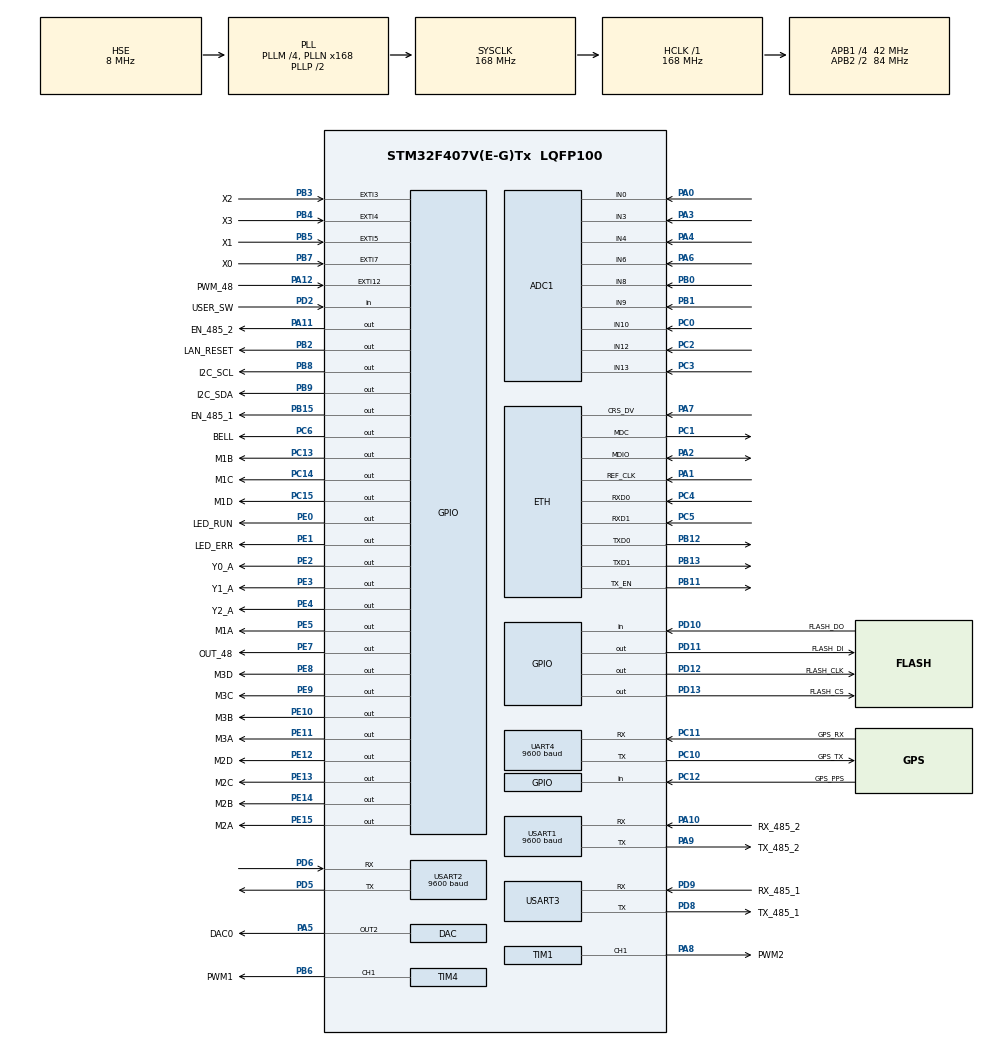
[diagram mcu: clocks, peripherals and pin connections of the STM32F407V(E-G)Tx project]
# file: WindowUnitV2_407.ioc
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ADC1.Channel-18\#ChannelRegularConversion=ADC_CHANNEL_10
ADC1.Channel-19\#ChannelRegularConversion=ADC_CHANNEL_12
ADC1.Channel-20\#ChannelRegularConversion=ADC_CHANNEL_13
ADC1.Channel-21\#ChannelRegularConversion=ADC_CHANNEL_0
ADC1.Channel-22\#ChannelRegularConversion=ADC_CHANNEL_3
ADC1.Channel-23\#ChannelRegularConversion=ADC_CHANNEL_6
ADC1.Channel-24\#ChannelRegularConversion=ADC_CHANNEL_8
ADC1.Channel-25\#ChannelRegularConversion=ADC_CHANNEL_9
ADC1.Channel-26\#ChannelRegularConversion=ADC_CHANNEL_4
ADC1.ContinuousConvMode=ENABLE
ADC1.EOCSelection=ADC_EOC_SEQ_CONV
ADC1.NbrOfConversion=9
ADC1.NbrOfConversionFlag=1
ADC1.Rank-18\#ChannelRegularConversion=1
ADC1.Rank-19\#ChannelRegularConversion=2
ADC1.Rank-20\#ChannelRegularConversion=3
ADC1.Rank-21\#ChannelRegularConversion=4
ADC1.Rank-22\#ChannelRegularConversion=5
ADC1.Rank-23\#ChannelRegularConversion=6
ADC1.Rank-24\#ChannelRegularConversion=7
ADC1.Rank-25\#ChannelRegularConversion=8
ADC1.Rank-26\#ChannelRegularConversion=9
ADC1.SamplingTime-18\#ChannelRegularConversion=ADC_SAMPLETIME_3CYCLES
ADC1.SamplingTime-19\#ChannelRegularConversion=ADC_SAMPLETIME_3CYCLES
ADC1.SamplingTime-20\#ChannelRegularConversion=ADC_SAMPLETIME_3CYCLES
ADC1.SamplingTime-21\#ChannelRegularConversion=ADC_SAMPLETIME_3CYCLES
ADC1.SamplingTime-22\#ChannelRegularConversion=ADC_SAMPLETIME_3CYCLES
ADC1.SamplingTime-23\#ChannelRegularConversion=ADC_SAMPLETIME_3CYCLES
ADC1.SamplingTime-24\#ChannelRegularConversion=ADC_SAMPLETIME_3CYCLES
ADC1.SamplingTime-25\#ChannelRegularConversion=ADC_SAMPLETIME_3CYCLES
ADC1.SamplingTime-26\#ChannelRegularConversion=ADC_SAMPLETIME_3CYCLES
ADC1.master=1
Dma.ADC1.0.Direction=DMA_PERIPH_TO_MEMORY
Dma.ADC1.0.FIFOMode=DMA_FIFOMODE_DISABLE
Dma.ADC1.0.Instance=DMA2_Stream0
Dma.ADC1.0.MemDataAlignment=DMA_MDATAALIGN_HALFWORD
Dma.ADC1.0.MemInc=DMA_MINC_ENABLE
Dma.ADC1.0.Mode=DMA_CIRCULAR
Dma.ADC1.0.PeriphDataAlignment=DMA_PDATAALIGN_HALFWORD
Dma.ADC1.0.PeriphInc=DMA_PINC_DISABLE
Dma.ADC1.0.Priority=DMA_PRIORITY_LOW
Dma.Request0=ADC1
Dma.Request1=USART2_RX
Dma.Request2=USART2_TX
Dma.USART2_RX.1.Direction=DMA_PERIPH_TO_MEMORY
Dma.USART2_RX.1.FIFOMode=DMA_FIFOMODE_DISABLE
Dma.USART2_RX.1.Instance=DMA1_Stream5
Dma.USART2_RX.1.MemDataAlignment=DMA_MDATAALIGN_BYTE
Dma.USART2_RX.1.MemInc=DMA_MINC_ENABLE
Dma.USART2_RX.1.Mode=DMA_NORMAL
Dma.USART2_RX.1.PeriphDataAlignment=DMA_PDATAALIGN_BYTE
Dma.USART2_RX.1.PeriphInc=DMA_PINC_DISABLE
Dma.USART2_RX.1.Priority=DMA_PRIORITY_LOW
Dma.USART2_TX.2.Direction=DMA_MEMORY_TO_PERIPH
Dma.USART2_TX.2.FIFOMode=DMA_FIFOMODE_DISABLE
Dma.USART2_TX.2.Instance=DMA1_Stream6
Dma.USART2_TX.2.MemDataAlignment=DMA_MDATAALIGN_BYTE
Dma.USART2_TX.2.MemInc=DMA_MINC_ENABLE
Dma.USART2_TX.2.Mode=DMA_NORMAL
Dma.USART2_TX.2.PeriphDataAlignment=DMA_PDATAALIGN_BYTE
Dma.USART2_TX.2.PeriphInc=DMA_PINC_DISABLE
Dma.USART2_TX.2.Priority=DMA_PRIORITY_LOW
ETH.MACAddr=12\:34\:56\:78\:12\:54
ETH.MediaInterface=ETH_MEDIA_INTERFACE_RMII
ETH.PHY_DUPLEX_STATUS=0x0010
ETH.PHY_Name_RMII=userPHY
ETH.PHY_SPEED_STATUS=0x0004
ETH.PHY_SR=0x1f
ETH.PhyAddress=0\t\t\t\t\t\t
FREERTOS.Tasks01=SystemTask,24,512,StartSystemTask,As weak,NULL,Dynamic,NULL,NULL;AdcTask,8,128,StartAdcTask,As external,NULL,Dynamic,NULL,NULL;OutdoorComsTask,32,128,StartOutdoorComs,As external,NULL,Dynamic,NULL,NULL;ModbusTask,24,512,StartModbusTask,As external,NULL,Dynamic,NULL,NULL;DisplayTask,8,128,StartDisplayTask,As external,NULL,Dynamic,NULL,NULL;FanTask,8,128,StartFanTask,As external,NULL,Dynamic,NULL,NULL;DamperTask,8,128,StartDamperTask,As external,NULL,Dynamic,NULL,NULL;ErrCheckTask,8,256,StartErrCheckTask,As external,NULL,Dynamic,NULL,NULL;HealthTask,8,256,StartHealthTask,As external,NULL,Dynamic,NULL,NULL;GPSTask,8,256,StartGPS,As external,NULL,Static,GPSTaskBuffer,GPSTaskControlBlock;EtherNet,24,1024,StartIP,As external,NULL,Static,EtherNetBuffer,EtherNetControlBlock
FREERTOS.configCHECK_FOR_STACK_OVERFLOW=2
FREERTOS.configGENERATE_RUN_TIME_STATS=0
FREERTOS.configTOTAL_HEAP_SIZE=24576
FREERTOS.configUSE_NEWLIB_REENTRANT=1
LWIP.GATEWAY_ADDRESS=192.168.002.001
LWIP.IP_ADDRESS=192.168.002.100
LWIP.LWIP_DHCP=1
LWIP.LWIP_DNS=1
LWIP.LWIP_SO_RCVTIMEO=1
LWIP.LWIP_SO_SNDTIMEO=1
LWIP.NETMASK_ADDRESS=255.255.255.000
LWIP.Version=v2.1.2_Cube
Mcu.Family=STM32F4
Mcu.Name=STM32F407V(E-G)Tx
Mcu.Package=LQFP100
NVIC.DMA1_Stream5_IRQn=true\:5\:0\:false\:false\:true\:true\:false\:true
NVIC.DMA1_Stream6_IRQn=true\:5\:0\:false\:false\:true\:true\:false\:true
NVIC.DMA2_Stream0_IRQn=true\:5\:0\:false\:false\:true\:true\:false\:true
NVIC.ETH_IRQn=true\:5\:0\:false\:false\:true\:true\:false\:true
NVIC.EXTI15_10_IRQn=true\:5\:0\:false\:false\:true\:true\:true\:true
NVIC.EXTI3_IRQn=true\:5\:0\:false\:false\:true\:true\:true\:true
NVIC.EXTI4_IRQn=true\:5\:0\:false\:false\:true\:true\:true\:true
NVIC.EXTI9_5_IRQn=true\:5\:0\:false\:false\:true\:true\:true\:true
NVIC.PriorityGroup=NVIC_PRIORITYGROUP_4
NVIC.RTC_Alarm_IRQn=true\:5\:0\:false\:false\:true\:true\:true\:true
NVIC.TIM6_DAC_IRQn=true\:15\:0\:false\:false\:true\:false\:false\:true
NVIC.TimeBase=TIM6_DAC_IRQn
NVIC.TimeBaseIP=TIM6
NVIC.UART4_IRQn=true\:5\:0\:false\:false\:true\:true\:true\:true
NVIC.USART1_IRQn=true\:5\:0\:false\:false\:true\:true\:true\:true
NVIC.USART2_IRQn=true\:5\:0\:false\:false\:true\:true\:true\:true
PA0-WKUP.Signal=ADCx_IN0
PA1.Mode=RMII
PA1.Signal=ETH_REF_CLK
PA10.GPIO_Label=RX_485_2
PA10.Mode=Asynchronous
PA10.Signal=USART1_RX
PA11.GPIO_Label=EN_485_2
PA11.Signal=GPIO_Output
PA12.GPIO_Label=PWM_48
PA12.Signal=GPXTI12
PA13.Mode=Serial_Wire
PA13.Signal=SYS_JTMS-SWDIO
PA14.Mode=Serial_Wire
PA14.Signal=SYS_JTCK-SWCLK
PA2.Mode=RMII
PA2.Signal=ETH_MDIO
PA3.Signal=ADCx_IN3
PA4.Signal=ADCx_IN4
PA5.GPIO_Label=DAC0
PA5.Signal=COMP_DAC2_group
PA6.Signal=ADCx_IN6
PA7.Mode=RMII
PA7.Signal=ETH_CRS_DV
PA8.GPIO_Label=PWM2
PA8.Signal=S_TIM1_CH1
PA9.GPIO_Label=TX_485_2
PA9.Mode=Asynchronous
PA9.Signal=USART1_TX
PB0.Signal=ADCx_IN8
PB1.Signal=ADCx_IN9
PB11.Mode=RMII
PB11.Signal=ETH_TX_EN
PB12.Mode=RMII
PB12.Signal=ETH_TXD0
PB13.Mode=RMII
PB13.Signal=ETH_TXD1
PB15.GPIO_Label=EN_485_1
PB15.Signal=GPIO_Output
PB2.GPIO_Label=LAN_RESET
PB2.Signal=GPIO_Output
PB3.GPIO_Label=X2
PB3.Signal=GPXTI3
PB4.GPIO_Label=X3
PB4.Signal=GPXTI4
PB5.GPIO_Label=X1
PB5.Signal=GPXTI5
PB6.GPIO_Label=PWM1
PB6.Signal=S_TIM4_CH1
PB7.GPIO_Label=X0
PB7.Signal=GPXTI7
PB8.GPIO_Label=I2C_SCL
PB8.Signal=GPIO_Output
PB9.GPIO_Label=I2C_SDA
PB9.Signal=GPIO_Output
PC0.Signal=ADCx_IN10
PC1.Mode=RMII
PC1.Signal=ETH_MDC
PC10.GPIO_Label=GPS_TX
PC10.Mode=Asynchronous
PC10.Signal=UART4_TX
PC11.GPIO_Label=GPS_RX
PC11.Mode=Asynchronous
PC11.Signal=UART4_RX
PC12.GPIO_Label=GPS_PPS
PC12.Signal=GPIO_Input
PC13-ANTI_TAMP.GPIO_Label=M1B
PC13-ANTI_TAMP.Signal=GPIO_Output
PC14-OSC32_IN.GPIO_Label=M1C
PC14-OSC32_IN.Signal=GPIO_Output
PC15-OSC32_OUT.GPIO_Label=M1D
PC15-OSC32_OUT.Signal=GPIO_Output
PC2.Signal=ADCx_IN12
PC3.Signal=ADCx_IN13
PC4.Mode=RMII
PC4.Signal=ETH_RXD0
PC5.Mode=RMII
PC5.Signal=ETH_RXD1
PC6.GPIO_Label=BELL
PC6.Signal=GPIO_Output
PD10.GPIO_Label=FLASH_DO
PD10.Signal=GPIO_Input
PD11.GPIO_Label=FLASH_DI
PD11.Signal=GPIO_Output
PD12.GPIO_Label=FLASH_CLK
PD12.Signal=GPIO_Output
PD13.GPIO_Label=FLASH_CS
PD13.Signal=GPIO_Output
PD2.GPIO_Label=USER_SW
PD2.Signal=GPIO_Input
PD5.Mode=Asynchronous
PD5.Signal=USART2_TX
PD6.Mode=Asynchronous
PD6.Signal=USART2_RX
PD8.GPIO_Label=TX_485_1
PD8.Mode=Asynchronous
PD8.Signal=USART3_TX
PD9.GPIO_Label=RX_485_1
PD9.Mode=Asynchronous
PD9.Signal=USART3_RX
PE0.GPIO_Label=LED_RUN
PE0.Signal=GPIO_Output
PE1.GPIO_Label=LED_ERR
PE1.Signal=GPIO_Output
PE10.GPIO_Label=M3B
PE10.Signal=GPIO_Output
PE11.GPIO_Label=M3A
PE11.Signal=GPIO_Output
PE12.GPIO_Label=M2D
PE12.Signal=GPIO_Output
PE13.GPIO_Label=M2C
PE13.Signal=GPIO_Output
PE14.GPIO_Label=M2B
PE14.Signal=GPIO_Output
PE15.GPIO_Label=M2A
PE15.Signal=GPIO_Output
PE2.GPIO_Label=Y0_A
PE2.Signal=GPIO_Output
PE3.GPIO_Label=Y1_A
PE3.Signal=GPIO_Output
PE4.GPIO_Label=Y2_A
PE4.Signal=GPIO_Output
PE5.GPIO_Label=M1A
PE5.Signal=GPIO_Output
PE7.GPIO_Label=OUT_48
PE7.Signal=GPIO_Output
PE8.GPIO_Label=M3D
PE8.Signal=GPIO_Output
PE9.GPIO_Label=M3C
PE9.Signal=GPIO_Output
PH0-OSC_IN.Mode=HSE-External-Oscillator
PH0-OSC_IN.Signal=RCC_OSC_IN
PH1-OSC_OUT.Mode=HSE-External-Oscillator
PH1-OSC_OUT.Signal=RCC_OSC_OUT
ProjectManager.HeapSize=0x200
ProjectManager.StackSize=0x400
ProjectManager.TargetToolchain=STM32CubeIDE
RCC.48MHZClocksFreq_Value=84000000
RCC.AHBFreq_Value=168000000
RCC.APB1CLKDivider=RCC_HCLK_DIV4
RCC.APB1Freq_Value=42000000
RCC.APB1TimFreq_Value=84000000
RCC.APB2CLKDivider=RCC_HCLK_DIV2
RCC.APB2Freq_Value=84000000
RCC.APB2TimFreq_Value=168000000
RCC.CortexFreq_Value=168000000
RCC.HCLKFreq_Value=168000000
RCC.HSE_VALUE=8000000
RCC.HSI_VALUE=16000000
RCC.LSE_VALUE=32768
RCC.PLLM=4
RCC.PLLN=168
RCC.PLLSourceVirtual=RCC_PLLSOURCE_HSE
RCC.SYSCLKFreq_VALUE=168000000
RCC.SYSCLKSource=RCC_SYSCLKSOURCE_PLLCLK
RCC.VCOOutputFreq_Value=336000000
RTC.Alarm=RTC_ALARM_A
RTC.Alarm_B=RTC_ALARM_B
RTC.AsynchPrediv=124
RTC.SynchPrediv=8000-1
SH.ADCx_IN0.0=ADC1_IN0,IN0
SH.ADCx_IN10.0=ADC1_IN10,IN10
SH.ADCx_IN12.0=ADC1_IN12,IN12
SH.ADCx_IN13.0=ADC1_IN13,IN13
SH.ADCx_IN3.0=ADC1_IN3,IN3
SH.ADCx_IN4.0=ADC1_IN4,IN4
SH.ADCx_IN6.0=ADC1_IN6,IN6
SH.ADCx_IN8.0=ADC1_IN8,IN8
SH.ADCx_IN9.0=ADC1_IN9,IN9
SH.COMP_DAC2_group.0=DAC_OUT2,DAC_OUT2
SH.S_TIM1_CH1.0=TIM1_CH1,PWM Generation1 CH1
SH.S_TIM4_CH1.0=TIM4_CH1,PWM Generation1 CH1
TIM1.AutoReloadPreload=TIM_AUTORELOAD_PRELOAD_ENABLE
TIM1.Channel-PWM\ Generation1\ CH1=TIM_CHANNEL_1
TIM1.Period=1000-1
TIM1.Prescaler=12-1
TIM3.AutoReloadPreload=TIM_AUTORELOAD_PRELOAD_ENABLE
TIM3.Period=1000-1
TIM3.Prescaler=64-1
TIM4.AutoReloadPreload=TIM_AUTORELOAD_PRELOAD_ENABLE
TIM4.Channel-PWM\ Generation1\ CH1=TIM_CHANNEL_1
TIM4.Period=1000-1
TIM4.Prescaler=6-1
UART4.BaudRate=9600
UART4.VirtualMode=Asynchronous
USART1.BaudRate=9600
USART1.VirtualMode=VM_ASYNC
USART2.BaudRate=9600
USART2.VirtualMode=VM_ASYNC
USART3.VirtualMode=VM_ASYNC
VP_FREERTOS_VS_CMSIS_V2.Mode=CMSIS_V2
VP_LWIP_VS_Enabled.Mode=Enabled
VP_RTC_VS_RTC_Activate.Mode=RTC_Enabled
VP_RTC_VS_RTC_Alarm_A_Intern.Mode=Alarm A
VP_RTC_VS_RTC_Alarm_B_Intern.Mode=Alarm B
VP_RTC_VS_RTC_Calendar.Mode=RTC_Calendar
VP_SYS_VS_tim6.Mode=TIM6
VP_TIM1_VS_ClockSourceINT.Mode=Internal
VP_TIM3_VS_ClockSourceINT.Mode=Internal
VP_TIM4_VS_ClockSourceINT.Mode=Internal
board=custom

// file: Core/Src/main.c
/* USER CODE BEGIN Header */
/**
 ******************************************************************************
 * @file           : main.c
 * @brief          : Main program body
 ******************************************************************************
 * @attention
 *
 * <h2><center>&copy; Copyright (c) 2021 STMicroelectronics.
 * All rights reserved.</center></h2>
 *
 * This software component is licensed by ST under BSD 3-Clause license,
 * the "License"; You may not use this file except in compliance with the
 * License. You may obtain a copy of the License at:
 *                        opensource.org/licenses/BSD-3-Clause
 *
 ******************************************************************************
 */
/* USER CODE END Header */
#include "main.h"
#include "cmsis_os.h"
#include "lwip.h"

/* USER CODE BEGIN Includes */
#include "Modbus.h"
#include "appSystem.h"
/* USER CODE END Includes */

typedef StaticTask_t osStaticThreadDef_t;

ADC_HandleTypeDef hadc1;
DMA_HandleTypeDef hdma_adc1;

DAC_HandleTypeDef hdac;

RTC_HandleTypeDef hrtc;

TIM_HandleTypeDef htim1;
TIM_HandleTypeDef htim3;
TIM_HandleTypeDef htim4;

UART_HandleTypeDef huart4;
UART_HandleTypeDef huart1;
UART_HandleTypeDef huart2;
UART_HandleTypeDef huart3;
DMA_HandleTypeDef hdma_usart2_rx;
DMA_HandleTypeDef hdma_usart2_tx;

/* Definitions for SystemTask */
osThreadId_t SystemTaskHandle;
const osThreadAttr_t SystemTask_attributes = {
  .name = "SystemTask",
  .stack_size = 512 * 4,
  .priority = (osPriority_t) osPriorityNormal,
};
/* Definitions for AdcTask */
osThreadId_t AdcTaskHandle;
const osThreadAttr_t AdcTask_attributes = {
  .name = "AdcTask",
  .stack_size = 128 * 4,
  .priority = (osPriority_t) osPriorityLow,
};
/* Definitions for OutdoorComsTask */
osThreadId_t OutdoorComsTaskHandle;
const osThreadAttr_t OutdoorComsTask_attributes = {
  .name = "OutdoorComsTask",
  .stack_size = 128 * 4,
  .priority = (osPriority_t) osPriorityAboveNormal,
};
/* Definitions for ModbusTask */
osThreadId_t ModbusTaskHandle;
const osThreadAttr_t ModbusTask_attributes = {
  .name = "ModbusTask",
  .stack_size = 512 * 4,
  .priority = (osPriority_t) osPriorityNormal,
};
/* Definitions for DisplayTask */
osThreadId_t DisplayTaskHandle;
const osThreadAttr_t DisplayTask_attributes = {
  .name = "DisplayTask",
  .stack_size = 128 * 4,
  .priority = (osPriority_t) osPriorityLow,
};
/* Definitions for FanTask */
osThreadId_t FanTaskHandle;
const osThreadAttr_t FanTask_attributes = {
  .name = "FanTask",
  .stack_size = 128 * 4,
  .priority = (osPriority_t) osPriorityLow,
};
/* Definitions for DamperTask */
osThreadId_t DamperTaskHandle;
const osThreadAttr_t DamperTask_attributes = {
  .name = "DamperTask",
  .stack_size = 128 * 4,
  .priority = (osPriority_t) osPriorityLow,
};
/* Definitions for ErrCheckTask */
osThreadId_t ErrCheckTaskHandle;
const osThreadAttr_t ErrCheckTask_attributes = {
  .name = "ErrCheckTask",
  .stack_size = 256 * 4,
  .priority = (osPriority_t) osPriorityLow,
};
/* Definitions for HealthTask */
osThreadId_t HealthTaskHandle;
const osThreadAttr_t HealthTask_attributes = {
  .name = "HealthTask",
  .stack_size = 256 * 4,
  .priority = (osPriority_t) osPriorityLow,
};
/* Definitions for GPSTask */
osThreadId_t GPSTaskHandle;
uint32_t GPSTaskBuffer[ 256 ];
osStaticThreadDef_t GPSTaskControlBlock;
const osThreadAttr_t GPSTask_attributes = {
  .name = "GPSTask",
  .cb_mem = &GPSTaskControlBlock,
  .cb_size = sizeof(GPSTaskControlBlock),
  .stack_mem = &GPSTaskBuffer[0],
  .stack_size = sizeof(GPSTaskBuffer),
  .priority = (osPriority_t) osPriorityLow,
};
/* Definitions for EtherNet */
osThreadId_t EtherNetHandle;
uint32_t EtherNetBuffer[ 1024 ];
osStaticThreadDef_t EtherNetControlBlock;
const osThreadAttr_t EtherNet_attributes = {
  .name = "EtherNet",
  .cb_mem = &EtherNetControlBlock,
  .cb_size = sizeof(EtherNetControlBlock),
  .stack_mem = &EtherNetBuffer[0],
  .stack_size = sizeof(EtherNetBuffer),
  .priority = (osPriority_t) osPriorityNormal,
};
/* USER CODE BEGIN PV */

modbusHandler_t ModbusH_1;
//modbusHandler_t ModbusH_2;
modbusHandler_t ModbusH_3;

uint16_t SystemCore[sizeof(APP_SYSTEM_DATA)];
APP_SYSTEM_DATA *SystemState = (APP_SYSTEM_DATA*) &SystemCore;
//uint16_t OtherGuyMem[sizeof(OTHERGUY_STATE)];
//OTHERGUY_STATE *OtherGuy = (OTHERGUY_STATE*)OtherGuyMem;

/* USER CODE END PV */

void SystemClock_Config(void);
static void MX_GPIO_Init(void);
static void MX_ADC1_Init(void);
static void MX_DAC_Init(void);
static void MX_DMA_Init(void);
static void MX_RTC_Init(void);
static void MX_TIM1_Init(void);
static void MX_TIM3_Init(void);
static void MX_TIM4_Init(void);
static void MX_UART4_Init(void);
static void MX_USART1_UART_Init(void);
static void MX_USART2_UART_Init(void);
static void MX_USART3_UART_Init(void);
void StartSystemTask(void *argument);
extern void StartAdcTask(void *argument);
extern void StartOutdoorComs(void *argument);
extern void StartModbusTask(void *argument);
extern void StartDisplayTask(void *argument);
extern void StartFanTask(void *argument);
extern void StartDamperTask(void *argument);
extern void StartErrCheckTask(void *argument);
extern void StartHealthTask(void *argument);
extern void StartGPS(void *argument);
extern void StartIP(void *argument);

int main(void)
{

  /* MCU Configuration--------------------------------------------------------*/

  /* Reset of all peripherals, Initializes the Flash interface and the Systick. */
  HAL_Init();

  /* Configure the system clock */
  SystemClock_Config();

  /* Initialize all configured peripherals */
  MX_GPIO_Init();
  MX_ADC1_Init();
  MX_DAC_Init();
  MX_DMA_Init();
  MX_RTC_Init();
  MX_TIM1_Init();
  MX_TIM3_Init();
  MX_TIM4_Init();
  MX_UART4_Init();
  MX_USART1_UART_Init();
  MX_USART2_UART_Init();
  MX_USART3_UART_Init();
  /* USER CODE BEGIN 2 */
	HAL_GPIO_WritePin(BELL_GPIO_Port, BELL_Pin,1);
HAL_Delay(128);
	HAL_GPIO_WritePin(BELL_GPIO_Port, BELL_Pin,0);
HAL_Delay(500);
	HAL_GPIO_WritePin(BELL_GPIO_Port, BELL_Pin,1);
HAL_Delay(128);
	HAL_GPIO_WritePin(BELL_GPIO_Port, BELL_Pin,0);
HAL_Delay(500);
	HAL_GPIO_WritePin(BELL_GPIO_Port, BELL_Pin,1);
HAL_Delay(1500);
	HAL_GPIO_WritePin(BELL_GPIO_Port, BELL_Pin,0);

  SystemState->IPSet = false;

	ModbusH_1.uModbusType = MB_DUAL;
	ModbusH_1.port = &huart1;
	ModbusH_1.u8id = 240; // Form master it must be 0
	ModbusH_1.u16timeOut = 1000;
	//ModbusH_1.EN_Port = NULL;
	ModbusH_1.EN_Port = EN_485_2_GPIO_Port;
	ModbusH_1.EN_Pin = EN_485_2_Pin;
	ModbusH_1.xTypeHW = USART_HW;

	ModbusH_1.u16regs = SystemCore;
	ModbusH_1.u16regsize = sizeof(SystemCore) / sizeof(SystemCore[0]);
	ModbusH_1.isSupended = false;
	//Initialize Modbus library
	ModbusInit(&ModbusH_1);
	//Start capturing traffic on serial Port
	ModbusStart(&ModbusH_1);

#ifdef MODBUS_TCP
	ModbusH_3.uModbusType = MB_SLAVE;
	ModbusH_3.u8id = 2; // Form master it must be 0
	ModbusH_3.u16timeOut = ((1000));

	ModbusH_3.u16regs = SystemCore;
	ModbusH_3.u16regsize= sizeof(SystemCore) / sizeof(SystemCore[0]);
	ModbusH_3.xTypeHW = TCP_HW; // TCP hardware
	ModbusH_3.uTcpPort = 502;
	//Initialize Modbus library

	ModbusInit(&ModbusH_3);
	//Start capturing traffic on serial Port
	ModbusStart(&ModbusH_3);

#else
#ifndef DEBUG_UART
	ModbusH_3.uModbusType = MB_SLAVE;
	ModbusH_3.port = &huart3;
	ModbusH_3.u8id = 2; // Form master it must be 0
	ModbusH_3.u16timeOut = ((1000));
	ModbusH_3.EN_Port = EN_485_1_GPIO_Port;
	ModbusH_3.EN_Pin = EN_485_1_Pin;

	ModbusH_3.u16regs = SystemCore;
	ModbusH_3.u16regsize= sizeof(SystemCore) / sizeof(SystemCore[0]);
	ModbusH_3.xTypeHW = USART_HW; // SErila hardware

	//Initialize Modbus library

	ModbusInit(&ModbusH_3);
	//Start capturing traffic on serial Port
	ModbusStart(&ModbusH_3);
#endif
#endif

	SystemState->Current.Steppers[STEPPER_RETRUN].Position = DAMPER_UNKNOWN;
	SystemState->Current.Steppers[STEPPER_FRESH].Position = DAMPER_UNKNOWN;
	SystemState->Current.Steppers[STEPPER_EXPANTION].Position = DAMPER_UNKNOWN;

	SystemState->Required.Compressor.Freq = 0;

	SystemState->Required.Fans[FAN_PORT_INDOOR].Speed = 0;
	SystemState->Required.Fans[FAN_PORT_OUTDOOR].Speed = 0;
	SystemState->Required.Fans[FAN_PORT_SPARE].Speed = 0;

	//SystemState->Required.Steppers[STEPPER_FRESH].Position=DAMPER_CLOSE;
	//SystemState->Required.Steppers[STEPPER_RETRUN].Position=DAMPER_CLOSE;
	SystemState->Required.Steppers[STEPPER_EXPANTION].Position = DAMPER_CLOSE;

	SystemState->VERSION = 0x3126;

#ifdef IGNOREIPM
  SystemState->VERSION |= 0x1000;
#endif
	SystemState->TASKRUNBITS = 0XFF;
	SystemState->CONTROLRUNBITS = 0XFF;

	SystemState->Current.CoolingMode = MODE_FULL;
	SystemState->Required.CoolingMode = MODE_FULL;

	SystemState->Paramters.PARAM[PARAM_USE_PID] = 3;
	ADDFLAG(SystemState->E_Errors, E_ERR_COMS_INDOOR_OUTDOOR); //Start assuming no outdoor boards
	SystemState->PoweredUp = 1;

	SystemState->DCCurrentLimit = 38;

	HAL_GPIO_WritePin(BELL_GPIO_Port, BELL_Pin,0);

  /* USER CODE END 2 */

  /* Init scheduler */
  osKernelInitialize();

  /* Create the thread(s) */
  /* creation of SystemTask */
  SystemTaskHandle = osThreadNew(StartSystemTask, NULL, &SystemTask_attributes);

  /* creation of AdcTask */
  AdcTaskHandle = osThreadNew(StartAdcTask, NULL, &AdcTask_attributes);

  /* creation of OutdoorComsTask */
  OutdoorComsTaskHandle = osThreadNew(StartOutdoorComs, NULL, &OutdoorComsTask_attributes);

  /* creation of ModbusTask */
  ModbusTaskHandle = osThreadNew(StartModbusTask, NULL, &ModbusTask_attributes);

  /* creation of DisplayTask */
  DisplayTaskHandle = osThreadNew(StartDisplayTask, NULL, &DisplayTask_attributes);

  /* creation of FanTask */
  FanTaskHandle = osThreadNew(StartFanTask, NULL, &FanTask_attributes);

  /* creation of DamperTask */
  DamperTaskHandle = osThreadNew(StartDamperTask, NULL, &DamperTask_attributes);

  /* creation of ErrCheckTask */
  ErrCheckTaskHandle = osThreadNew(StartErrCheckTask, NULL, &ErrCheckTask_attributes);

  /* creation of HealthTask */
  HealthTaskHandle = osThreadNew(StartHealthTask, NULL, &HealthTask_attributes);

  /* creation of GPSTask */
  GPSTaskHandle = osThreadNew(StartGPS, NULL, &GPSTask_attributes);

  /* creation of EtherNet */
  EtherNetHandle = osThreadNew(StartIP, NULL, &EtherNet_attributes);

  /* Start scheduler */
  osKernelStart();

  /* We should never get here as control is now taken by the scheduler */
  /* Infinite loop */
  /* USER CODE BEGIN WHILE */

	while (1) {
		//APP_ADC_Task();

    /* USER CODE END WHILE */

	}
}

void SystemClock_Config(void)
{
  RCC_OscInitTypeDef RCC_OscInitStruct = {0};
  RCC_ClkInitTypeDef RCC_ClkInitStruct = {0};

  /** Configure the main internal regulator output voltage
  */
  __HAL_RCC_PWR_CLK_ENABLE();
  __HAL_PWR_VOLTAGESCALING_CONFIG(PWR_REGULATOR_VOLTAGE_SCALE1);
  /** Initializes the RCC Oscillators according to the specified parameters
  * in the RCC_OscInitTypeDef structure.
  */
  RCC_OscInitStruct.OscillatorType = RCC_OSCILLATORTYPE_LSI|RCC_OSCILLATORTYPE_HSE;
  RCC_OscInitStruct.HSEState = RCC_HSE_ON;
  RCC_OscInitStruct.LSIState = RCC_LSI_ON;
  RCC_OscInitStruct.PLL.PLLState = RCC_PLL_ON;
  RCC_OscInitStruct.PLL.PLLSource = RCC_PLLSOURCE_HSE;
  RCC_OscInitStruct.PLL.PLLM = 4;
  RCC_OscInitStruct.PLL.PLLN = 168;
  RCC_OscInitStruct.PLL.PLLP = RCC_PLLP_DIV2;
  RCC_OscInitStruct.PLL.PLLQ = 4;
  if (HAL_RCC_OscConfig(&RCC_OscInitStruct) != HAL_OK)
  {
    Error_Handler();
  }
  /** Initializes the CPU, AHB and APB buses clocks
  */
  RCC_ClkInitStruct.ClockType = RCC_CLOCKTYPE_HCLK|RCC_CLOCKTYPE_SYSCLK
                              |RCC_CLOCKTYPE_PCLK1|RCC_CLOCKTYPE_PCLK2;
  RCC_ClkInitStruct.SYSCLKSource = RCC_SYSCLKSOURCE_PLLCLK;
  RCC_ClkInitStruct.AHBCLKDivider = RCC_SYSCLK_DIV1;
  RCC_ClkInitStruct.APB1CLKDivider = RCC_HCLK_DIV4;
  RCC_ClkInitStruct.APB2CLKDivider = RCC_HCLK_DIV2;

  if (HAL_RCC_ClockConfig(&RCC_ClkInitStruct, FLASH_LATENCY_5) != HAL_OK)
  {
    Error_Handler();
  }
}

static void MX_ADC1_Init(void)
{

  ADC_ChannelConfTypeDef sConfig = {0};

  /** Configure the global features of the ADC (Clock, Resolution, Data Alignment and number of conversion)
  */
  hadc1.Instance = ADC1;
  hadc1.Init.ClockPrescaler = ADC_CLOCK_SYNC_PCLK_DIV4;
  hadc1.Init.Resolution = ADC_RESOLUTION_12B;
  hadc1.Init.ScanConvMode = ENABLE;
  hadc1.Init.ContinuousConvMode = ENABLE;
  hadc1.Init.DiscontinuousConvMode = DISABLE;
  hadc1.Init.ExternalTrigConvEdge = ADC_EXTERNALTRIGCONVEDGE_NONE;
  hadc1.Init.ExternalTrigConv = ADC_SOFTWARE_START;
  hadc1.Init.DataAlign = ADC_DATAALIGN_RIGHT;
  hadc1.Init.NbrOfConversion = 9;
  hadc1.Init.DMAContinuousRequests = DISABLE;
  hadc1.Init.EOCSelection = ADC_EOC_SEQ_CONV;
  if (HAL_ADC_Init(&hadc1) != HAL_OK)
  {
    Error_Handler();
  }
  /** Configure for the selected ADC regular channel its corresponding rank in the sequencer and its sample time.
  */
  sConfig.Channel = ADC_CHANNEL_10;
  sConfig.Rank = 1;
  sConfig.SamplingTime = ADC_SAMPLETIME_3CYCLES;
  if (HAL_ADC_ConfigChannel(&hadc1, &sConfig) != HAL_OK)
  {
    Error_Handler();
  }
  /** Configure for the selected ADC regular channel its corresponding rank in the sequencer and its sample time.
  */
  sConfig.Channel = ADC_CHANNEL_12;
  sConfig.Rank = 2;
  if (HAL_ADC_ConfigChannel(&hadc1, &sConfig) != HAL_OK)
  {
    Error_Handler();
  }
  /** Configure for the selected ADC regular channel its corresponding rank in the sequencer and its sample time.
  */
  sConfig.Channel = ADC_CHANNEL_13;
  sConfig.Rank = 3;
  if (HAL_ADC_ConfigChannel(&hadc1, &sConfig) != HAL_OK)
  {
    Error_Handler();
  }
  /** Configure for the selected ADC regular channel its corresponding rank in the sequencer and its sample time.
  */
  sConfig.Channel = ADC_CHANNEL_0;
  sConfig.Rank = 4;
  if (HAL_ADC_ConfigChannel(&hadc1, &sConfig) != HAL_OK)
  {
    Error_Handler();
  }
  /** Configure for the selected ADC regular channel its corresponding rank in the sequencer and its sample time.
  */
  sConfig.Channel = ADC_CHANNEL_3;
  sConfig.Rank = 5;
  if (HAL_ADC_ConfigChannel(&hadc1, &sConfig) != HAL_OK)
  {
    Error_Handler();
  }
  /** Configure for the selected ADC regular channel its corresponding rank in the sequencer and its sample time.
  */
  sConfig.Channel = ADC_CHANNEL_6;
  sConfig.Rank = 6;
  if (HAL_ADC_ConfigChannel(&hadc1, &sConfig) != HAL_OK)
  {
    Error_Handler();
  }
  /** Configure for the selected ADC regular channel its corresponding rank in the sequencer and its sample time.
  */
  sConfig.Channel = ADC_CHANNEL_8;
  sConfig.Rank = 7;
  if (HAL_ADC_ConfigChannel(&hadc1, &sConfig) != HAL_OK)
  {
    Error_Handler();
  }
  /** Configure for the selected ADC regular channel its corresponding rank in the sequencer and its sample time.
  */
  sConfig.Channel = ADC_CHANNEL_9;
  sConfig.Rank = 8;
  if (HAL_ADC_ConfigChannel(&hadc1, &sConfig) != HAL_OK)
  {
    Error_Handler();
  }
  /** Configure for the selected ADC regular channel its corresponding rank in the sequencer and its sample time.
  */
  sConfig.Channel = ADC_CHANNEL_4;
  sConfig.Rank = 9;
  if (HAL_ADC_ConfigChannel(&hadc1, &sConfig) != HAL_OK)
  {
    Error_Handler();
  }

}

static void MX_DAC_Init(void)
{

  DAC_ChannelConfTypeDef sConfig = {0};

  /** DAC Initialization
  */
  hdac.Instance = DAC;
  if (HAL_DAC_Init(&hdac) != HAL_OK)
  {
    Error_Handler();
  }
  /** DAC channel OUT2 config
  */
  sConfig.DAC_Trigger = DAC_TRIGGER_NONE;
  sConfig.DAC_OutputBuffer = DAC_OUTPUTBUFFER_ENABLE;
  if (HAL_DAC_ConfigChannel(&hdac, &sConfig, DAC_CHANNEL_2) != HAL_OK)
  {
    Error_Handler();
  }

}

static void MX_RTC_Init(void)
{

  RTC_TimeTypeDef sTime = {0};
  RTC_DateTypeDef sDate = {0};
  RTC_AlarmTypeDef sAlarm = {0};

  /** Initialize RTC Only
  */
  hrtc.Instance = RTC;
  hrtc.Init.HourFormat = RTC_HOURFORMAT_24;
  hrtc.Init.AsynchPrediv = 124;
  hrtc.Init.SynchPrediv = 8000-1;
  hrtc.Init.OutPut = RTC_OUTPUT_DISABLE;
  hrtc.Init.OutPutPolarity = RTC_OUTPUT_POLARITY_HIGH;
  hrtc.Init.OutPutType = RTC_OUTPUT_TYPE_OPENDRAIN;
  if (HAL_RTC_Init(&hrtc) != HAL_OK)
  {
    Error_Handler();
  }

  /** Initialize RTC and set the Time and Date
  */
  sTime.Hours = 0x0;
  sTime.Minutes = 0x0;
  sTime.Seconds = 0x0;
  sTime.DayLightSaving = RTC_DAYLIGHTSAVING_NONE;
  sTime.StoreOperation = RTC_STOREOPERATION_RESET;
  if (HAL_RTC_SetTime(&hrtc, &sTime, RTC_FORMAT_BCD) != HAL_OK)
  {
    Error_Handler();
  }
  sDate.WeekDay = RTC_WEEKDAY_MONDAY;
  sDate.Month = RTC_MONTH_JANUARY;
  sDate.Date = 0x1;
  sDate.Year = 0x0;

  if (HAL_RTC_SetDate(&hrtc, &sDate, RTC_FORMAT_BCD) != HAL_OK)
  {
    Error_Handler();
  }
  /** Enable the Alarm A
  */
  sAlarm.AlarmTime.Hours = 0x0;
  sAlarm.AlarmTime.Minutes = 0x0;
  sAlarm.AlarmTime.Seconds = 0x0;
  sAlarm.AlarmTime.SubSeconds = 0x0;
  sAlarm.AlarmTime.DayLightSaving = RTC_DAYLIGHTSAVING_NONE;
  sAlarm.AlarmTime.StoreOperation = RTC_STOREOPERATION_RESET;
  sAlarm.AlarmMask = RTC_ALARMMASK_NONE;
  sAlarm.AlarmSubSecondMask = RTC_ALARMSUBSECONDMASK_ALL;
  sAlarm.AlarmDateWeekDaySel = RTC_ALARMDATEWEEKDAYSEL_DATE;
  sAlarm.AlarmDateWeekDay = 0x1;
  sAlarm.Alarm = RTC_ALARM_A;
  if (HAL_RTC_SetAlarm_IT(&hrtc, &sAlarm, RTC_FORMAT_BCD) != HAL_OK)
  {
    Error_Handler();
  }
  /** Enable the Alarm B
  */
  sAlarm.Alarm = RTC_ALARM_B;
  if (HAL_RTC_SetAlarm_IT(&hrtc, &sAlarm, RTC_FORMAT_BCD) != HAL_OK)
  {
    Error_Handler();
  }

}

static void MX_TIM1_Init(void)
{

  TIM_ClockConfigTypeDef sClockSourceConfig = {0};
  TIM_MasterConfigTypeDef sMasterConfig = {0};
  TIM_OC_InitTypeDef sConfigOC = {0};
  TIM_BreakDeadTimeConfigTypeDef sBreakDeadTimeConfig = {0};

  htim1.Instance = TIM1;
  htim1.Init.Prescaler = 12-1;
  htim1.Init.CounterMode = TIM_COUNTERMODE_UP;
  htim1.Init.Period = 1000-1;
  htim1.Init.ClockDivision = TIM_CLOCKDIVISION_DIV1;
  htim1.Init.RepetitionCounter = 0;
  htim1.Init.AutoReloadPreload = TIM_AUTORELOAD_PRELOAD_ENABLE;
  if (HAL_TIM_Base_Init(&htim1) != HAL_OK)
  {
    Error_Handler();
  }
  sClockSourceConfig.ClockSource = TIM_CLOCKSOURCE_INTERNAL;
  if (HAL_TIM_ConfigClockSource(&htim1, &sClockSourceConfig) != HAL_OK)
  {
    Error_Handler();
  }
  if (HAL_TIM_PWM_Init(&htim1) != HAL_OK)
  {
    Error_Handler();
  }
  sMasterConfig.MasterOutputTrigger = TIM_TRGO_RESET;
  sMasterConfig.MasterSlaveMode = TIM_MASTERSLAVEMODE_DISABLE;
  if (HAL_TIMEx_MasterConfigSynchronization(&htim1, &sMasterConfig) != HAL_OK)
  {
    Error_Handler();
  }
  sConfigOC.OCMode = TIM_OCMODE_PWM1;
  sConfigOC.Pulse = 0;
  sConfigOC.OCPolarity = TIM_OCPOLARITY_HIGH;
  sConfigOC.OCNPolarity = TIM_OCNPOLARITY_HIGH;
  sConfigOC.OCFastMode = TIM_OCFAST_DISABLE;
  sConfigOC.OCIdleState = TIM_OCIDLESTATE_RESET;
  sConfigOC.OCNIdleState = TIM_OCNIDLESTATE_RESET;
  if (HAL_TIM_PWM_ConfigChannel(&htim1, &sConfigOC, TIM_CHANNEL_1) != HAL_OK)
  {
    Error_Handler();
  }
  sBreakDeadTimeConfig.OffStateRunMode = TIM_OSSR_DISABLE;
  sBreakDeadTimeConfig.OffStateIDLEMode = TIM_OSSI_DISABLE;
  sBreakDeadTimeConfig.LockLevel = TIM_LOCKLEVEL_OFF;
  sBreakDeadTimeConfig.DeadTime = 0;
  sBreakDeadTimeConfig.BreakState = TIM_BREAK_DISABLE;
  sBreakDeadTimeConfig.BreakPolarity = TIM_BREAKPOLARITY_HIGH;
  sBreakDeadTimeConfig.AutomaticOutput = TIM_AUTOMATICOUTPUT_DISABLE;
  if (HAL_TIMEx_ConfigBreakDeadTime(&htim1, &sBreakDeadTimeConfig) != HAL_OK)
  {
    Error_Handler();
  }
  HAL_TIM_MspPostInit(&htim1);

}

static void MX_TIM3_Init(void)
{

  TIM_ClockConfigTypeDef sClockSourceConfig = {0};
  TIM_MasterConfigTypeDef sMasterConfig = {0};

  htim3.Instance = TIM3;
  htim3.Init.Prescaler = 64-1;
  htim3.Init.CounterMode = TIM_COUNTERMODE_UP;
  htim3.Init.Period = 1000-1;
  htim3.Init.ClockDivision = TIM_CLOCKDIVISION_DIV1;
  htim3.Init.AutoReloadPreload = TIM_AUTORELOAD_PRELOAD_ENABLE;
  if (HAL_TIM_Base_Init(&htim3) != HAL_OK)
  {
    Error_Handler();
  }
  sClockSourceConfig.ClockSource = TIM_CLOCKSOURCE_INTERNAL;
  if (HAL_TIM_ConfigClockSource(&htim3, &sClockSourceConfig) != HAL_OK)
  {
    Error_Handler();
  }
  sMasterConfig.MasterOutputTrigger = TIM_TRGO_RESET;
  sMasterConfig.MasterSlaveMode = TIM_MASTERSLAVEMODE_DISABLE;
  if (HAL_TIMEx_MasterConfigSynchronization(&htim3, &sMasterConfig) != HAL_OK)
  {
    Error_Handler();
  }

}

static void MX_TIM4_Init(void)
{

  TIM_ClockConfigTypeDef sClockSourceConfig = {0};
  TIM_MasterConfigTypeDef sMasterConfig = {0};
  TIM_OC_InitTypeDef sConfigOC = {0};

  htim4.Instance = TIM4;
  htim4.Init.Prescaler = 6-1;
  htim4.Init.CounterMode = TIM_COUNTERMODE_UP;
  htim4.Init.Period = 1000-1;
  htim4.Init.ClockDivision = TIM_CLOCKDIVISION_DIV1;
  htim4.Init.AutoReloadPreload = TIM_AUTORELOAD_PRELOAD_ENABLE;
  if (HAL_TIM_Base_Init(&htim4) != HAL_OK)
  {
    Error_Handler();
  }
  sClockSourceConfig.ClockSource = TIM_CLOCKSOURCE_INTERNAL;
  if (HAL_TIM_ConfigClockSource(&htim4, &sClockSourceConfig) != HAL_OK)
  {
    Error_Handler();
  }
  if (HAL_TIM_PWM_Init(&htim4) != HAL_OK)
  {
    Error_Handler();
  }
  sMasterConfig.MasterOutputTrigger = TIM_TRGO_RESET;
  sMasterConfig.MasterSlaveMode = TIM_MASTERSLAVEMODE_DISABLE;
  if (HAL_TIMEx_MasterConfigSynchronization(&htim4, &sMasterConfig) != HAL_OK)
  {
    Error_Handler();
  }
  sConfigOC.OCMode = TIM_OCMODE_PWM1;
  sConfigOC.Pulse = 0;
  sConfigOC.OCPolarity = TIM_OCPOLARITY_HIGH;
  sConfigOC.OCFastMode = TIM_OCFAST_DISABLE;
  if (HAL_TIM_PWM_ConfigChannel(&htim4, &sConfigOC, TIM_CHANNEL_1) != HAL_OK)
  {
    Error_Handler();
  }
  HAL_TIM_MspPostInit(&htim4);

}

static void MX_UART4_Init(void)
{

  huart4.Instance = UART4;
  huart4.Init.BaudRate = 9600;
  huart4.Init.WordLength = UART_WORDLENGTH_8B;
  huart4.Init.StopBits = UART_STOPBITS_1;
  huart4.Init.Parity = UART_PARITY_NONE;
  huart4.Init.Mode = UART_MODE_TX_RX;
  huart4.Init.HwFlowCtl = UART_HWCONTROL_NONE;
  huart4.Init.OverSampling = UART_OVERSAMPLING_16;
  if (HAL_UART_Init(&huart4) != HAL_OK)
  {
    Error_Handler();
  }

}

static void MX_USART1_UART_Init(void)
{

  huart1.Instance = USART1;
  huart1.Init.BaudRate = 9600;
  huart1.Init.WordLength = UART_WORDLENGTH_8B;
  huart1.Init.StopBits = UART_STOPBITS_1;
  huart1.Init.Parity = UART_PARITY_NONE;
  huart1.Init.Mode = UART_MODE_TX_RX;
  huart1.Init.HwFlowCtl = UART_HWCONTROL_NONE;
  huart1.Init.OverSampling = UART_OVERSAMPLING_16;
  if (HAL_UART_Init(&huart1) != HAL_OK)
  {
    Error_Handler();
  }

}

static void MX_USART2_UART_Init(void)
{

  huart2.Instance = USART2;
  huart2.Init.BaudRate = 9600;
  huart2.Init.WordLength = UART_WORDLENGTH_8B;
  huart2.Init.StopBits = UART_STOPBITS_1;
  huart2.Init.Parity = UART_PARITY_NONE;
  huart2.Init.Mode = UART_MODE_TX_RX;
  huart2.Init.HwFlowCtl = UART_HWCONTROL_NONE;
  huart2.Init.OverSampling = UART_OVERSAMPLING_16;
  if (HAL_UART_Init(&huart2) != HAL_OK)
  {
    Error_Handler();
  }

}

static void MX_USART3_UART_Init(void)
{

  huart3.Instance = USART3;
  huart3.Init.BaudRate = 115200;
  huart3.Init.WordLength = UART_WORDLENGTH_8B;
  huart3.Init.StopBits = UART_STOPBITS_1;
  huart3.Init.Parity = UART_PARITY_NONE;
  huart3.Init.Mode = UART_MODE_TX_RX;
  huart3.Init.HwFlowCtl = UART_HWCONTROL_NONE;
  huart3.Init.OverSampling = UART_OVERSAMPLING_16;
  if (HAL_UART_Init(&huart3) != HAL_OK)
  {
    Error_Handler();
  }

}

static void MX_DMA_Init(void)
{

  /* DMA controller clock enable */
  __HAL_RCC_DMA2_CLK_ENABLE();
  __HAL_RCC_DMA1_CLK_ENABLE();

  /* DMA interrupt init */
  /* DMA1_Stream5_IRQn interrupt configuration */
  HAL_NVIC_SetPriority(DMA1_Stream5_IRQn, 5, 0);
  HAL_NVIC_EnableIRQ(DMA1_Stream5_IRQn);
  /* DMA1_Stream6_IRQn interrupt configuration */
  HAL_NVIC_SetPriority(DMA1_Stream6_IRQn, 5, 0);
  HAL_NVIC_EnableIRQ(DMA1_Stream6_IRQn);
  /* DMA2_Stream0_IRQn interrupt configuration */
  HAL_NVIC_SetPriority(DMA2_Stream0_IRQn, 5, 0);
  HAL_NVIC_EnableIRQ(DMA2_Stream0_IRQn);

}

static void MX_GPIO_Init(void)
{
  GPIO_InitTypeDef GPIO_InitStruct = {0};

  /* GPIO Ports Clock Enable */
  __HAL_RCC_GPIOE_CLK_ENABLE();
  __HAL_RCC_GPIOC_CLK_ENABLE();
  __HAL_RCC_GPIOH_CLK_ENABLE();
  __HAL_RCC_GPIOA_CLK_ENABLE();
  __HAL_RCC_GPIOB_CLK_ENABLE();
  __HAL_RCC_GPIOD_CLK_ENABLE();

  /*Configure GPIO pin Output Level */
  HAL_GPIO_WritePin(GPIOE, Y0_A_Pin|Y1_A_Pin|Y2_A_Pin|M1A_Pin
                          |OUT_48_Pin|M3D_Pin|M3C_Pin|M3B_Pin
                          |M3A_Pin|M2D_Pin|M2C_Pin|M2B_Pin
                          |M2A_Pin|LED_RUN_Pin|LED_ERR_Pin, GPIO_PIN_RESET);

  /*Configure GPIO pin Output Level */
  HAL_GPIO_WritePin(GPIOC, M1B_Pin|M1C_Pin|M1D_Pin|BELL_Pin, GPIO_PIN_RESET);

  /*Configure GPIO pin Output Level */
  HAL_GPIO_WritePin(GPIOB, LAN_RESET_Pin|EN_485_1_Pin|I2C_SCL_Pin|I2C_SDA_Pin, GPIO_PIN_RESET);

  /*Configure GPIO pin Output Level */
  HAL_GPIO_WritePin(GPIOD, FLASH_DI_Pin|FLASH_CLK_Pin|FLASH_CS_Pin, GPIO_PIN_RESET);

  /*Configure GPIO pin Output Level */
  HAL_GPIO_WritePin(EN_485_2_GPIO_Port, EN_485_2_Pin, GPIO_PIN_RESET);

  /*Configure GPIO pins : Y0_A_Pin Y1_A_Pin Y2_A_Pin M1A_Pin
                           OUT_48_Pin M3D_Pin M3C_Pin M3B_Pin
                           M3A_Pin M2D_Pin M2C_Pin M2B_Pin
                           M2A_Pin LED_RUN_Pin LED_ERR_Pin */
  GPIO_InitStruct.Pin = Y0_A_Pin|Y1_A_Pin|Y2_A_Pin|M1A_Pin
                          |OUT_48_Pin|M3D_Pin|M3C_Pin|M3B_Pin
                          |M3A_Pin|M2D_Pin|M2C_Pin|M2B_Pin
                          |M2A_Pin|LED_RUN_Pin|LED_ERR_Pin;
  GPIO_InitStruct.Mode = GPIO_MODE_OUTPUT_PP;
  GPIO_InitStruct.Pull = GPIO_NOPULL;
  GPIO_InitStruct.Speed = GPIO_SPEED_FREQ_LOW;
  HAL_GPIO_Init(GPIOE, &GPIO_InitStruct);

  /*Configure GPIO pins : M1B_Pin M1C_Pin M1D_Pin BELL_Pin */
  GPIO_InitStruct.Pin = M1B_Pin|M1C_Pin|M1D_Pin|BELL_Pin;
  GPIO_InitStruct.Mode = GPIO_MODE_OUTPUT_PP;
  GPIO_InitStruct.Pull = GPIO_NOPULL;
  GPIO_InitStruct.Speed = GPIO_SPEED_FREQ_LOW;
  HAL_GPIO_Init(GPIOC, &GPIO_InitStruct);

  /*Configure GPIO pins : LAN_RESET_Pin EN_485_1_Pin I2C_SCL_Pin I2C_SDA_Pin */
  GPIO_InitStruct.Pin = LAN_RESET_Pin|EN_485_1_Pin|I2C_SCL_Pin|I2C_SDA_Pin;
  GPIO_InitStruct.Mode = GPIO_MODE_OUTPUT_PP;
  GPIO_InitStruct.Pull = GPIO_NOPULL;
  GPIO_InitStruct.Speed = GPIO_SPEED_FREQ_LOW;
  HAL_GPIO_Init(GPIOB, &GPIO_InitStruct);

  /*Configure GPIO pins : FLASH_DO_Pin USER_SW_Pin */
  GPIO_InitStruct.Pin = FLASH_DO_Pin|USER_SW_Pin;
  GPIO_InitStruct.Mode = GPIO_MODE_INPUT;
  GPIO_InitStruct.Pull = GPIO_NOPULL;
  HAL_GPIO_Init(GPIOD, &GPIO_InitStruct);

  /*Configure GPIO pins : FLASH_DI_Pin FLASH_CLK_Pin FLASH_CS_Pin */
  GPIO_InitStruct.Pin = FLASH_DI_Pin|FLASH_CLK_Pin|FLASH_CS_Pin;
  GPIO_InitStruct.Mode = GPIO_MODE_OUTPUT_PP;
  GPIO_InitStruct.Pull = GPIO_NOPULL;
  GPIO_InitStruct.Speed = GPIO_SPEED_FREQ_LOW;
  HAL_GPIO_Init(GPIOD, &GPIO_InitStruct);

  /*Configure GPIO pin : EN_485_2_Pin */
  GPIO_InitStruct.Pin = EN_485_2_Pin;
  GPIO_InitStruct.Mode = GPIO_MODE_OUTPUT_PP;
  GPIO_InitStruct.Pull = GPIO_NOPULL;
  GPIO_InitStruct.Speed = GPIO_SPEED_FREQ_LOW;
  HAL_GPIO_Init(EN_485_2_GPIO_Port, &GPIO_InitStruct);

  /*Configure GPIO pin : PWM_48_Pin */
  GPIO_InitStruct.Pin = PWM_48_Pin;
  GPIO_InitStruct.Mode = GPIO_MODE_IT_RISING;
  GPIO_InitStruct.Pull = GPIO_NOPULL;
  HAL_GPIO_Init(PWM_48_GPIO_Port, &GPIO_InitStruct);

  /*Configure GPIO pin : GPS_PPS_Pin */
  GPIO_InitStruct.Pin = GPS_PPS_Pin;
  GPIO_InitStruct.Mode = GPIO_MODE_INPUT;
  GPIO_InitStruct.Pull = GPIO_NOPULL;
  HAL_GPIO_Init(GPS_PPS_GPIO_Port, &GPIO_InitStruct);

  /*Configure GPIO pins : X2_Pin X3_Pin X1_Pin X0_Pin */
  GPIO_InitStruct.Pin = X2_Pin|X3_Pin|X1_Pin|X0_Pin;
  GPIO_InitStruct.Mode = GPIO_MODE_IT_RISING;
  GPIO_InitStruct.Pull = GPIO_NOPULL;
  HAL_GPIO_Init(GPIOB, &GPIO_InitStruct);

  /* EXTI interrupt init*/
  HAL_NVIC_SetPriority(EXTI3_IRQn, 5, 0);
  HAL_NVIC_EnableIRQ(EXTI3_IRQn);

  HAL_NVIC_SetPriority(EXTI4_IRQn, 5, 0);
  HAL_NVIC_EnableIRQ(EXTI4_IRQn);

  HAL_NVIC_SetPriority(EXTI9_5_IRQn, 5, 0);
  HAL_NVIC_EnableIRQ(EXTI9_5_IRQn);

  HAL_NVIC_SetPriority(EXTI15_10_IRQn, 5, 0);
  HAL_NVIC_EnableIRQ(EXTI15_10_IRQn);

}

__weak void StartSystemTask(void *argument)
{
  /* init code for LWIP */
  MX_LWIP_Init();
	for (;;) {
	}
}

void HAL_TIM_PeriodElapsedCallback(TIM_HandleTypeDef *htim)
{
  if (htim->Instance == TIM6) {
    HAL_IncTick();
  }
}

void Error_Handler(void)
{
}

/************************ (C) COPYRIGHT STMicroelectronics *****END OF FILE****/
